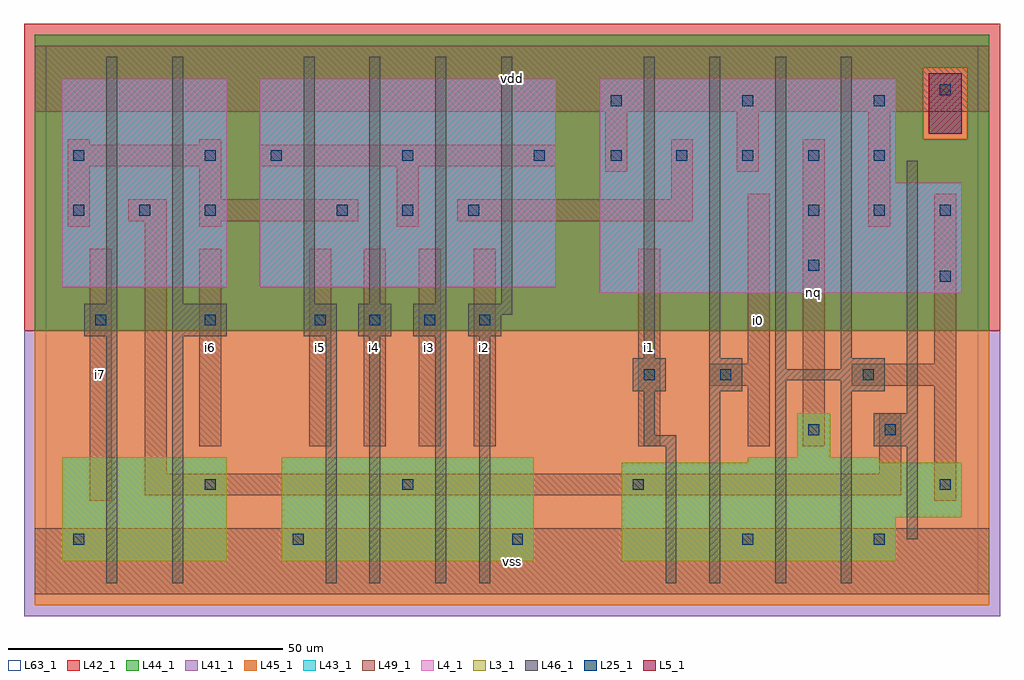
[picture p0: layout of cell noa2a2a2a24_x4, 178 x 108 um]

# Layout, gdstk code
import gdstk
lib = gdstk.Library(unit=1e-6, precision=1e-09)
def R(c, l, rs):  # rectangles x0, y0, x1, y1
    for r in rs: c.add(gdstk.rectangle(r[:2], r[2:], *l))
def A(c, l, x, y, w, h, nx, ny, dx, dy):  # array of equal rectangles
    R(c, l, [(x+i*dx, y+j*dy, x+i*dx+w, y+j*dy+h) for i in range(nx) for j in range(ny)])
L3_1 = (3, 1)
L4_1 = (4, 1)
L5_1 = (5, 1)
L25_1 = (25, 1)
L41_1 = (41, 1)
L42_1 = (42, 1)
L43_1 = (43, 1)
L44_1 = (44, 1)
L45_1 = (45, 1)
L46_1 = (46, 1)
L49_1 = (49, 1)
L63_1 = (63, 1)

noa2a2a2a24_x4 = lib.new_cell('noa2a2a2a24_x4')
R(noa2a2a2a24_x4, L3_1, [(3,6,33,25), (43,6,89,25), (105,6,155,14), (105,14,167,24), (128,24,152,25), (137,25,143,33)])
R(noa2a2a2a24_x4, L4_1, [(101,55,167,75), (3,56,33,94), (39,56,93,94), (101,75,155,94)])
R(noa2a2a2a24_x4, L5_1, [(161,84,167,95)])
A(noa2a2a2a24_x4, L25_1, 5, 9, 2, 2, 3, 1, 40, 0)
A(noa2a2a2a24_x4, L25_1, 9, 49, 2, 2, 3, 1, 20, 0)
A(noa2a2a2a24_x4, L25_1, 59, 49, 2, 2, 3, 1, 10, 0)
A(noa2a2a2a24_x4, L25_1, 5, 69, 2, 2, 3, 1, 12, 0)
A(noa2a2a2a24_x4, L25_1, 53, 69, 2, 2, 3, 1, 12, 0)
A(noa2a2a2a24_x4, L25_1, 139, 69, 2, 2, 3, 1, 12, 0)
A(noa2a2a2a24_x4, L25_1, 41, 79, 2, 2, 3, 1, 24, 0)
A(noa2a2a2a24_x4, L25_1, 103, 79, 2, 2, 5, 1, 12, 0)
A(noa2a2a2a24_x4, L25_1, 103, 89, 2, 2, 3, 1, 24, 0)
R(noa2a2a2a24_x4, L25_1, [(127,9,129,11), (151,9,153,11), (29,19,31,21), (65,19,67,21), (107,19,109,21), (163,19,165,21), (139,29,141,31), (153,29,155,31), (109,39,111,41), (123,39,125,41), (149,39,151,41), (163,57,165,59), (139,59,141,61), (5,79,7,81), (29,79,31,81), (163,91,165,93)])
R(noa2a2a2a24_x4, L41_1, [(-4,-4,174,48)])
R(noa2a2a2a24_x4, L42_1, [(-4,48,174,104)])
R(noa2a2a2a24_x4, L43_1, [(3,6,33,25), (43,6,89,25), (105,6,155,14), (105,14,167,24), (128,24,152,25), (137,25,143,33), (101,55,167,75), (3,56,33,94), (39,56,93,94), (101,75,155,94), (161,84,167,95)])
R(noa2a2a2a24_x4, L44_1, [(-2,48,172,83), (-2,83,160,96), (168,83,172,96), (-2,96,172,102)])
R(noa2a2a2a24_x4, L45_1, [(-2,-2,172,48), (160,83,168,96)])
A(noa2a2a2a24_x4, L46_1, 47, 47, 6, 6, 3, 1, 10, 0)
A(noa2a2a2a24_x4, L46_1, 47, 53, 2, 45, 4, 1, 12, 0)
R(noa2a2a2a24_x4, L46_1, [(11,2,13,47), (23,2,25,47), (51,2,53,47), (59,2,61,47), (71,2,73,47), (79,2,81,47), (113,2,115,27), (121,2,123,37), (133,2,135,39), (145,2,147,37), (157,10,159,27), (109,27,115,29), (151,27,159,33), (109,29,111,37), (157,33,159,79), (107,37,113,43), (121,37,127,43), (145,37,153,39), (133,39,153,41), (133,41,135,98), (145,41,153,43), (109,43,111,98), (121,43,123,98), (145,43,147,98), (7,47,13,53), (23,47,33,53), (77,47,83,51), (77,51,85,53), (11,53,13,98), (23,53,25,98)])
A(noa2a2a2a24_x4, L49_1, 48, 27, 4, 36, 4, 1, 10, 0)
R(noa2a2a2a24_x4, L49_1, [(-2,0,172,12), (8,17,12,63), (162,17,166,38), (18,18,156,22), (18,22,22,68), (152,22,156,33), (28,27,32,63), (108,27,112,63), (128,27,132,38), (138,27,142,83), (121,38,132,42), (147,38,166,42), (128,42,132,73), (162,42,166,73), (4,67,8,78), (28,67,32,68), (64,67,68,78), (150,67,154,88), (15,68,22,72), (28,68,57,72), (75,68,118,72), (28,72,32,78), (114,72,118,83), (102,77,106,88), (126,77,130,88), (4,78,32,82), (39,78,93,82), (4,82,8,83), (28,82,32,83), (-2,88,172,100)])
R(noa2a2a2a24_x4, L63_1, [(0,0,170,100)])
noa2a2a2a24_x4.add(gdstk.Label('i7', (10,40), layer=49, texttype=1))
noa2a2a2a24_x4.add(gdstk.Label('i6', (30,45), layer=49, texttype=1))
noa2a2a2a24_x4.add(gdstk.Label('i4', (60,45), layer=49, texttype=1))
noa2a2a2a24_x4.add(gdstk.Label('i5', (50,45), layer=49, texttype=1))
noa2a2a2a24_x4.add(gdstk.Label('vss', (85,6), layer=49, texttype=1))
noa2a2a2a24_x4.add(gdstk.Label('i3', (70,45), layer=49, texttype=1))
noa2a2a2a24_x4.add(gdstk.Label('i2', (80,45), layer=49, texttype=1))
noa2a2a2a24_x4.add(gdstk.Label('vdd', (85,94), layer=49, texttype=1))
noa2a2a2a24_x4.add(gdstk.Label('i1', (110,45), layer=49, texttype=1))
noa2a2a2a24_x4.add(gdstk.Label('i0', (130,50), layer=49, texttype=1))
noa2a2a2a24_x4.add(gdstk.Label('nq', (140,55), layer=49, texttype=1))

lib.write_gds('noa2a2a2a24_x4.gds')
